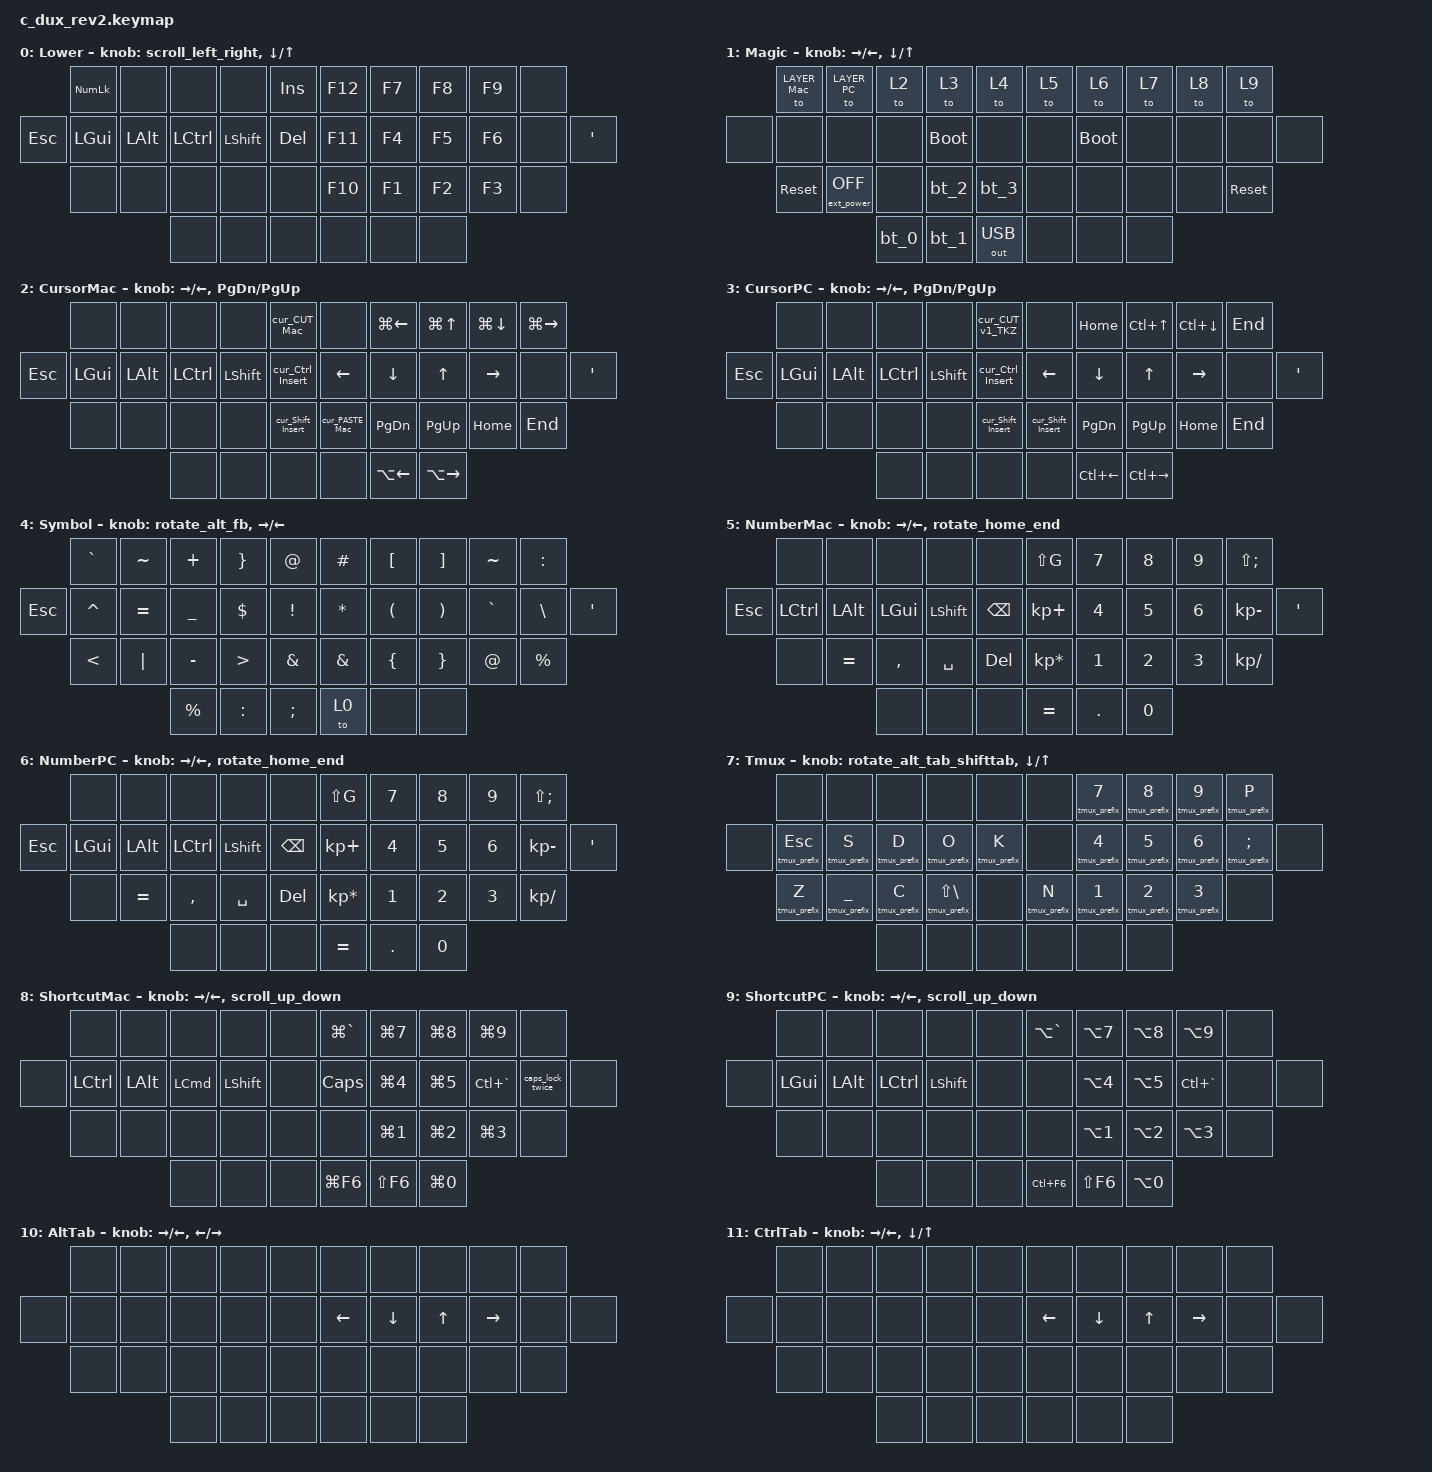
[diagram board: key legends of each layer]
/*
 * Keymap config for the c_dux keyboard. Referencing my Glove80 keymap.
 */

#define ZMK_POINTING_DEFAULT_SCRL_VAL 140

#include <behaviors.dtsi>
#include <dt-bindings/zmk/keys.h>
#include <dt-bindings/zmk/pointing.h>
#include <dt-bindings/zmk/ext_power.h>
/* For selecting output, e.g. BLE, USB */
#include <dt-bindings/zmk/bt.h>
#include <dt-bindings/zmk/outputs.h>

// #define DEFAULT_LAYER_PC
#if __has_include("default_layer.h")
#include "default_layer.h"
#endif

#ifdef DEFAULT_LAYER_PC
#define LAYER_PC 0
#define LAYER_Mac 1
#else
#define LAYER_Mac 0
#define LAYER_PC 1
#endif
#define LAYER_Lower 2
#define LAYER_Magic 3
#define LAYER_CursorMac 4
#define LAYER_CursorPC 5
#define LAYER_Symbol 6
#define LAYER_NumberMac 7
#define LAYER_NumberPC 8
#define LAYER_Tmux 9
#define LAYER_ShortcutMac 10
#define LAYER_ShortcutPC 11
#define LAYER_AltTab 12
#define LAYER_CtrlTab 13

/* To deal with the situation where there is no Lower layer, to keep &lower happy */
#ifndef LAYER_Lower
#define LAYER_Lower 0
#endif

/ {
    behaviors {
        // For the "layer" key, it'd nice to be able to use it as either a shift or a toggle.
        // Configure it as a tap dance, so the first tap (or hold) is a &mo and the second tap is a &to
        lower: lower {
            compatible = "zmk,behavior-tap-dance";
            #binding-cells = <0>;
            tapping-term-ms = <200>;
            bindings = <&mo LAYER_Lower>, <&to LAYER_Lower>;
        };

        magic: magic {
            compatible = "zmk,behavior-hold-tap";
            #binding-cells = <2>;
            flavor = "tap-preferred";
            tapping-term-ms = <200>;
            bindings = <&mo>, <&bt_select_0>;
        };

        scroll_left_right: behavior_sensor_rotate_mouse_wheel_left_right {
            compatible = "zmk,behavior-sensor-rotate";
            #sensor-binding-cells = <0>;
            tap-ms = <20>;
            bindings = <&msc SCRL_RIGHT>, <&msc SCRL_LEFT>;
        };

        scroll_up_down: behavior_sensor_rotate_mouse_wheel_up_down {
            compatible = "zmk,behavior-sensor-rotate";
            #sensor-binding-cells = <0>;
            tap-ms = <20>;
            bindings = <&msc SCRL_DOWN>, <&msc SCRL_UP>;
        };

        rotate_home_end: behavior_sensor_rotate_home_end {
            compatible = "zmk,behavior-sensor-rotate";
            #sensor-binding-cells = <0>;
            bindings = <&kp END>, <&kp HOME>;
        };

        rotate_alt_fb: behavior_sensor_rotate_alt_fb {
            compatible = "zmk,behavior-sensor-rotate";
            #sensor-binding-cells = <0>;
            bindings = <&kp LA(F)>, <&kp LA(B)>;
        };

        rotate_alt_tab_shifttab: behavior_sensor_rotate_tab_shifttab {
            compatible = "zmk,behavior-sensor-rotate";
            #sensor-binding-cells = <0>;
            bindings = <&kp LC(TAB)>, <&kp LS(LC(TAB))>;
        };
    };
};


/* Bluetooth releated. With BT_DISC_CMD support. */
/ {
    behaviors {
        bt_0: bt_0 {
            compatible = "zmk,behavior-tap-dance";
            #binding-cells = <0>;
            tapping-term-ms = <200>;
            bindings = <&bt_select_0>, <&bt BT_DISC 0>;
        };
        bt_1: bt_1 {
            compatible = "zmk,behavior-tap-dance";
            #binding-cells = <0>;
            tapping-term-ms = <200>;
            bindings = <&bt_select_1>, <&bt BT_DISC 1>;
        };
        bt_2: bt_2 {
            compatible = "zmk,behavior-tap-dance";
            #binding-cells = <0>;
            tapping-term-ms = <200>;
            bindings = <&bt_select_2>, <&bt BT_DISC 2>;
        };
        bt_3: bt_3 {
            compatible = "zmk,behavior-tap-dance";
            #binding-cells = <0>;
            tapping-term-ms = <200>;
            bindings = <&bt_select_3>, <&bt BT_DISC 3>;
        };
    };
    macros {
        bt_select_0: bt_select_0 {
            compatible = "zmk,behavior-macro";
            #binding-cells = <0>;
            bindings
                = <&out OUT_BLE>,
                  <&bt BT_SEL 0>;
        };
        bt_select_1: bt_select_1 {
            compatible = "zmk,behavior-macro";
            #binding-cells = <0>;
            bindings
                = <&out OUT_BLE>,
                  <&bt BT_SEL 1>;
        };
        bt_select_2: bt_select_2 {
            compatible = "zmk,behavior-macro";
            #binding-cells = <0>;
            bindings
                = <&out OUT_BLE>,
                  <&bt BT_SEL 2>;
        };
        bt_select_3: bt_select_3 {
            compatible = "zmk,behavior-macro";
            #binding-cells = <0>;
            bindings
                = <&out OUT_BLE>,
                  <&bt BT_SEL 3>;
        };
    };
};


/* #define for key positions */
#define POS_LH_C1R1 4 /* Left hand column 1 (far index finger) row 1. */
#define POS_LH_C2R1 3
#define POS_LH_C3R1 2
#define POS_LH_C4R1 1
#define POS_LH_C5R1 0

#define POS_LH_C1R2 15
#define POS_LH_C2R2 14
#define POS_LH_C3R2 13
#define POS_LH_C4R2 12
#define POS_LH_C5R2 11
#define POS_LH_C6R2 10

#define POS_LH_C1R3 26
#define POS_LH_C2R3 25
#define POS_LH_C3R3 24
#define POS_LH_C4R3 23
#define POS_LH_C5R3 22

#define POS_LH_T1 32 /* Left hand inner most thumb key. */
#define POS_LH_T2 33
#define POS_LH_T3 34

#define POS_RH_C1R1 5 /* Right hand column 1 ((far index finger) row 1. */
#define POS_RH_C2R1 6
#define POS_RH_C3R1 7
#define POS_RH_C4R1 8
#define POS_RH_C5R1 9

#define POS_RH_C1R2 16
#define POS_RH_C2R2 17
#define POS_RH_C3R2 18
#define POS_RH_C4R2 19
#define POS_RH_C5R2 20
#define POS_RH_C6R2 21

#define POS_RH_C1R3 27
#define POS_RH_C2R3 28
#define POS_RH_C3R3 29
#define POS_RH_C4R3 30
#define POS_RH_C5R3 31

#define POS_RH_T1 37 /* Right hand inner most thumb key. */
#define POS_RH_T2 36
#define POS_RH_T3 35


/ {
    macros {
        // AutoShift Helper- &AS main macro is chained to &AS_HT hold tap and &AS_Shifted macro - TailorKey
        AS_Shifted_v1_TKZ: AS_Shifted_v1_TKZ {
            compatible = "zmk,behavior-macro-one-param";
            #binding-cells = <1>;
            bindings = <&macro_press>
                , <&kp LSHFT>
                , <&macro_tap>
                , <&macro_param_1to1>
                , <&kp N1>
                , <&macro_release>
                , <&kp LSHFT>;
        };

        // AutoShift (Assign &AS to a Key) - &AS main macro is chained to &AS_HT hold tap and &AS_Shifted macro - TailorKey
        AS_v1_TKZ: AS_v1_TKZ {
            compatible = "zmk,behavior-macro-one-param";
            #binding-cells = <1>;
            tap-ms = <10>;
            wait-ms = <10>;
            bindings = <&macro_press>
                , <&macro_param_1to1>
                , <&macro_param_1to2>
                , <&AS_HT_v1_TKZ A A>
                , <&macro_pause_for_release>
                , <&macro_release>
                , <&macro_param_1to1>
                , <&macro_param_1to2>
                , <&AS_HT_v1_TKZ A A>;
        };

        // Cursor Layer - Copy (Ctrl C) - TailorKey
        cur_COPY_v1_TKZ: cur_COPY_v1_TKZ {
            compatible = "zmk,behavior-macro";
            #binding-cells = <0>;
            bindings = <&kp LC(C)>;
        };
        cur_COPY_Mac: cur_COPY_Mac {
            compatible = "zmk,behavior-macro";
            #binding-cells = <0>;
            bindings = <&kp LG(C)>;
        };

        // Cursor Layer - Cut (Ctrl X) - TailorKey
        cur_CUT_v1_TKZ: cur_CUT_v1_TKZ {
            compatible = "zmk,behavior-macro";
            #binding-cells = <0>;
            bindings = <&kp LC(X)>;
        };
        cur_CUT_Mac: cur_CUT_Mac {
            compatible = "zmk,behavior-macro";
            #binding-cells = <0>;
            bindings = <&kp LG(X)>;
        };

        // Cursor Layer - Extent Line (seq) - TailorKey
        cur_EXTEND_LINE_v1_TKZ: cur_EXTEND_LINE_v1_TKZ {
            compatible = "zmk,behavior-macro";
            #binding-cells = <0>;
            tap-ms = <1>;
            wait-ms = <1>;
            bindings = <&kp LS(END)>;
        };

        // Cursor Layer - Extend Word (seq) - TailorKey
        cur_EXTEND_WORD_v1_TKZ: cur_EXTEND_WORD_v1_TKZ {
            compatible = "zmk,behavior-macro";
            #binding-cells = <0>;
            tap-ms = <1>;
            wait-ms = <1>;
            bindings = <&kp LC(LS(RIGHT))>;
        };

        // Cursor Layer - Find Next (Ctrl G) - TailorKey
        cur_FNEXT_v1_TKZ: cur_FNEXT_v1_TKZ {
            compatible = "zmk,behavior-macro";
            #binding-cells = <0>;
            bindings = <&kp LC(G)>;
        };

        // Cursor Layer - Find Prev (Ctrl Shift G) - TailorKey
        cur_FPREV_v1_TKZ: cur_FPREV_v1_TKZ {
            compatible = "zmk,behavior-macro";
            #binding-cells = <0>;
            bindings = <&kp LS(LC(G))>;
        };

        // Cursor Layer - Paste (Ctrl V) - TailorKey
        cur_PASTE_v1_TKZ: cur_PASTE_v1_TKZ {
            compatible = "zmk,behavior-macro";
            #binding-cells = <0>;
            bindings = <&kp LC(V)>;
        };
        cur_PASTE_Mac: cur_PASTE_Mac {
            compatible = "zmk,behavior-macro";
            #binding-cells = <0>;
            bindings = <&kp LG(V)>;
        };

        // Cursor Layer - Redo (Ctrl Y) - TailorKey
        cur_REDO_v1_TKZ: cur_REDO_v1_TKZ {
            compatible = "zmk,behavior-macro";
            #binding-cells = <0>;
            bindings = <&kp LC(Y)>;
        };

        // Cursor Layer - Selest All (Ctrl A) - TailorKey
        cur_SELECT_ALL_v1_TKZ: cur_SELECT_ALL_v1_TKZ {
            compatible = "zmk,behavior-macro";
            #binding-cells = <0>;
            bindings = <&kp LC(A)>;
        };

        // Cursor Layer - Select Line (seq) - TailorKey
        cur_SELECT_LINE_v1_TKZ: cur_SELECT_LINE_v1_TKZ {
            compatible = "zmk,behavior-macro";
            #binding-cells = <0>;
            tap-ms = <1>;
            wait-ms = <1>;
            bindings = <&kp HOME>
                , <&kp LS(END)>;
        };

        // Cursor Layer - Select None (seq) - TailorKey
        cur_SELECT_NONE_v1_TKZ: cur_SELECT_NONE_v1_TKZ {
            compatible = "zmk,behavior-macro";
            #binding-cells = <0>;
            tap-ms = <1>;
            wait-ms = <1>;
            bindings = <&kp DOWN>
                , <&kp UP>
                , <&kp RIGHT>
                , <&kp LEFT>;
        };

        // Cursor Layer - Select Word (seq) - TailorKey
        cur_SELECT_WORD_v1_TKZ: cur_SELECT_WORD_v1_TKZ {
            compatible = "zmk,behavior-macro";
            #binding-cells = <0>;
            tap-ms = <1>;
            wait-ms = <1>;
            bindings = <&kp LC(LEFT)>
                , <&kp LC(LS(RIGHT))>;
        };

        cur_Ctrl_Insert: cur_Ctrl_Insert {
            compatible = "zmk,behavior-macro";
            #binding-cells = <0>;
            bindings = <&kp LC(INS)>;
        };

        cur_Shift_Insert: cur_Shift_Insert {
            compatible = "zmk,behavior-macro";
            #binding-cells = <0>;
            bindings = <&kp LS(INS)>;
        };

        // Cursor Layer - Undo (Ctrl Z) - TailorKey
        cur_UNDO_v1_TKZ: cur_UNDO_v1_TKZ {
            compatible = "zmk,behavior-macro";
            #binding-cells = <0>;
            bindings = <&kp LC(Z)>;
        };

        // mod_tab_switcher_chord -  TailorKey
        mod_tab_chord_v1_TKZ: mod_tab_chord_v1_TKZ {
            compatible = "zmk,behavior-macro-two-param";
            #binding-cells = <2>;
            tap-ms = <15>;
            wait-ms = <30>;
            bindings = <&macro_press>
                , <&macro_param_2to1>
                , <&mo 0>
                , <&macro_press>
                , <&macro_param_1to1>
                , <&mod_tab_v1_TKZ N0>
                , <&macro_pause_for_release>
                , <&macro_release>
                , <&macro_param_1to1>
                , <&mod_tab_v1_TKZ N0>
                , <&macro_release>
                , <&macro_param_2to1>
                , <&mo 0>;
        };

        // mod_tab_switcher - TailorKey
        mod_tab_v1_TKZ: mod_tab_v1_TKZ {
            compatible = "zmk,behavior-macro-one-param";
            #binding-cells = <1>;
            tap-ms = <15>;
            wait-ms = <30>;
            bindings = <&macro_press>
                , <&macro_param_1to1>
                , <&kp N0>
                , <&macro_tap>
                , <&kp TAB>
                , <&macro_pause_for_release>
                , <&macro_release>
                , <&macro_param_1to1>
                , <&kp N0>;
        };

        tmux_prefix: tmux_prefix {
            compatible = "zmk,behavior-macro-one-param";
            #binding-cells = <1>;
            wait-ms = <30>;
            bindings = <&kp GRAVE>
                , <&macro_param_1to1>
                , <&kp A>;
        };

        // Go to top
        cur_ctrl_home: cur_ctrl_home {
            compatible = "zmk,behavior-macro";
            #binding-cells = <0>;
            bindings = <&kp LC(HOME)>;
        };

        // Go to bottom
        cur_ctrl_end: cur_ctrl_end {
            compatible = "zmk,behavior-macro";
            #binding-cells = <0>;
            bindings = <&kp LC(END)>;
        };

        lctrl_space: lctrl_space {
            compatible = "zmk,behavior-macro";
            #binding-cells = <0>;
            bindings = <&macro_press &kp LCTRL>
                , <&macro_tap &kp SPACE>
                , <&macro_release &kp LCTRL>;
        };

        lgui_space: lgui_space {
            compatible = "zmk,behavior-macro";
            #binding-cells = <0>;
            bindings = <&macro_press &kp LGUI>
                , <&macro_tap &kp SPACE>
                , <&macro_release &kp LGUI>;
        };

        caps_lock_twice: caps_lock_twice {
            compatible = "zmk,behavior-macro";
            #binding-cells = <0>;
            bindings = <&macro_tap &kp CAPSLOCK>
                , <&macro_tap &kp CAPSLOCK>;
        };
    };
};

/ {
    behaviors {
        shiftdance: shiftdance {
            compatible = "zmk,behavior-tap-dance";
            #binding-cells = <0>;
            tapping-term-ms = <200>;
            // for normal shift, use the following:
            // bindings = <&kp RSHIFT>, <&caps_word>, <&kp CAPSLOCK>;
            bindings = <&sk LSHIFT>, <&caps_word>, <&kp CAPSLOCK>;
        };

        // AutoShift Helper - &AS main macro is chained to &AS_HT hold tap and &AS_Shifted macro - TailorKey
        AS_HT_v1_TKZ: AS_HT_v1_TKZ {
            compatible = "zmk,behavior-hold-tap";
            #binding-cells = <2>;
            tapping-term-ms = <190>;
            bindings = <&AS_Shifted_v1_TKZ>, <&kp>;
        };

        // Homerow Mod for the left index finger - TailorKey
        HRM_left_index_v1_TKZ: HRM_left_index_v1_TKZ {
            compatible = "zmk,behavior-hold-tap";
            #binding-cells = <2>;
            tapping-term-ms = <170>;
            bindings = <&kp>, <&kp>;
            flavor = "tap-preferred";
            quick-tap-ms = <300>;
            require-prior-idle-ms = <100>;
            hold-trigger-key-positions = <5 6 7 8 9 16 17 18 19 20 21 27 28 29 30 31 35 36 37>;
            hold-trigger-on-release;
        };

        // Homerow Mod for the left middle finger - TailorKey
        HRM_left_middy_v1_TKZ: HRM_left_middy_v1_TKZ {
            compatible = "zmk,behavior-hold-tap";
            #binding-cells = <2>;
            tapping-term-ms = <210>;
            bindings = <&kp>, <&kp>;
            flavor = "tap-preferred";
            quick-tap-ms = <300>;
            require-prior-idle-ms = <150>;
            hold-trigger-key-positions = <5 6 7 8 9 16 17 18 19 20 21 27 28 29 30 31 35 36 37>;
            hold-trigger-on-release;
        };

        // Homerow Mod for the left pinky - TailorKey
        HRM_left_pinky_v1_TKZ: HRM_left_pinky_v1_TKZ {
            compatible = "zmk,behavior-hold-tap";
            #binding-cells = <2>;
            tapping-term-ms = <260>;
            bindings = <&kp>, <&kp>;
            flavor = "tap-preferred";
            quick-tap-ms = <300>;
            require-prior-idle-ms = <150>;
            hold-trigger-key-positions = <5 6 7 8 9 16 17 18 19 20 21 27 28 29 30 31 35 36 37>;
            hold-trigger-on-release;
        };

        // Homerow Mod for the left ring finger 1 - TailorKey
        HRM_left_ring1_v1_TKZ: HRM_left_ring1_v1_TKZ {
            compatible = "zmk,behavior-hold-tap";
            #binding-cells = <2>;
            tapping-term-ms = <240>;
            bindings = <&kp>, <&kp>;
            flavor = "tap-preferred";
            quick-tap-ms = <300>;
            require-prior-idle-ms = <150>;
            hold-trigger-key-positions = <5 6 7 8 9 16 17 18 19 20 21 27 28 29 30 31 35 36 37>;
            hold-trigger-on-release;
        };

        // Homerow Mod for the right index finger - TailorKey
        HRM_right_index_v1_TKZ: HRM_right_index_v1_TKZ {
            compatible = "zmk,behavior-hold-tap";
            #binding-cells = <2>;
            tapping-term-ms = <170>;
            bindings = <&kp>, <&kp>;
            flavor = "tap-preferred";
            quick-tap-ms = <300>;
            require-prior-idle-ms = <100>;
            hold-trigger-key-positions = <0 1 2 3 4 10 11 12 13 14 15 22 23 24 25 26 32 33 34>;
            hold-trigger-on-release;
        };

        // Homerow Mod for the right middle finger - TailorKey
        HRM_right_middy_v1_TKZ: HRM_right_middy_v1_TKZ {
            compatible = "zmk,behavior-hold-tap";
            #binding-cells = <2>;
            tapping-term-ms = <210>;
            bindings = <&kp>, <&kp>;
            flavor = "tap-preferred";
            quick-tap-ms = <300>;
            require-prior-idle-ms = <150>;
            hold-trigger-key-positions = <0 1 2 3 4 10 11 12 13 14 15 22 23 24 25 26 32 33 34>;
            hold-trigger-on-release;
        };

        // Homerow Mod for the right pinky - TailorKey
        HRM_right_pinky_v1_TKZ: HRM_right_pinky_v1_TKZ {
            compatible = "zmk,behavior-hold-tap";
            #binding-cells = <2>;
            tapping-term-ms = <260>;
            bindings = <&kp>, <&kp>;
            flavor = "tap-preferred";
            quick-tap-ms = <300>;
            require-prior-idle-ms = <150>;
            hold-trigger-key-positions = <0 1 2 3 4 10 11 12 13 14 15 22 23 24 25 26 32 33 34>;
            hold-trigger-on-release;
        };

        // Homerow Mod for the right ring 1 - TailorKey
        HRM_right_ring1_v1_TKZ: HRM_right_ring1_v1_TKZ {
            compatible = "zmk,behavior-hold-tap";
            #binding-cells = <2>;
            tapping-term-ms = <240>;
            bindings = <&kp>, <&kp>;
            flavor = "tap-preferred";
            quick-tap-ms = <300>;
            require-prior-idle-ms = <150>;
            hold-trigger-key-positions = <0 1 2 3 4 10 11 12 13 14 15 22 23 24 25 26 32 33 34>;
            hold-trigger-on-release;
        };

        // space_layer_access - TailorKey
        space_v2_TKZ: space_v2_TKZ {
            compatible = "zmk,behavior-hold-tap";
            #binding-cells = <2>;
            tapping-term-ms = <200>;
            bindings = <&mo>, <&kp>;
            flavor = "balanced";
            quick-tap-ms = <150>;
            retro-tap;
        };

        // thumb_layer_access - TailorKey
        thumb_v2_TKZ: thumb_v2_TKZ {
            compatible = "zmk,behavior-hold-tap";
            #binding-cells = <2>;
            tapping-term-ms = <200>;
            bindings = <&mo>, <&kp>;
            flavor = "balanced";
            quick-tap-ms = <300>;
        };
    };
};

/ {
    combos {
        compatible = "zmk,combos";

        combo_n1 {
            key-positions = <POS_LH_C5R1 POS_LH_C5R2>;
            bindings = <&kp N1>;
        };
        combo_n2 {
            key-positions = <POS_LH_C4R1 POS_LH_C4R2>;
            bindings = <&kp N2>;
        };
        combo_n3 {
            key-positions = <POS_LH_C3R1 POS_LH_C3R2>;
            bindings = <&kp N3>;
        };
        combo_n4 {
            key-positions = <POS_LH_C2R1 POS_LH_C2R2>;
            bindings = <&kp N4>;
        };
        combo_n5 {
            key-positions = <POS_LH_C1R1 POS_LH_C1R2>;
            bindings = <&kp N5>;
        };
        combo_n6 {
            key-positions = <POS_RH_C1R1 POS_RH_C1R2>;
            bindings = <&kp N6>;
        };
        combo_n7 {
            key-positions = <POS_RH_C2R1 POS_RH_C2R2>;
            bindings = <&kp N7>;
        };
        combo_n8 {
            key-positions = <POS_RH_C3R1 POS_RH_C3R2>;
            bindings = <&kp N8>;
        };
        combo_n9 {
            key-positions = <POS_RH_C4R1 POS_RH_C4R2>;
            bindings = <&kp N9>;
        };
        combo_n0 {
            key-positions = <POS_RH_C5R1 POS_RH_C5R2>;
            bindings = <&kp N0>;
        };

        // left index finger
        combo_underscore {
            key-positions = <POS_LH_C2R2 POS_LH_C2R3>;
            bindings = <&kp UNDER>;
        };
        // left midddle finger
        combo_dash {
            key-positions = <POS_LH_C3R2 POS_LH_C3R3>;
            bindings = <&kp MINUS>;
        };
        // left ring finger
        combo_pc_left_gui{
            key-positions = <POS_LH_C4R2 POS_LH_C4R3>;
            layers = <LAYER_PC>;
            bindings = <&kp LGUI>;
        };

        // right index finger
        combo_capsword_right {
            key-positions = <POS_RH_C2R2 POS_RH_C2R3>;
            bindings = <&caps_word>;
        };
        // right middle finger
        combo_switch_lang_pc {
            key-positions = <POS_RH_C3R2 POS_RH_C3R3>;
            layers = <LAYER_PC>;
            bindings = <&lgui_space>;
        };
        combo_switch_lang_mac {
            key-positions = <POS_RH_C3R2 POS_RH_C3R3>;
            layers = <LAYER_Mac>;
            bindings = <&lctrl_space>;
        };
        // right ring finger
        combo_pc_right_gui {
            key-positions = <POS_RH_C4R2 POS_RH_C4R3>;
            layers = <LAYER_PC>;
            bindings = <&kp RGUI>;
        };

        combo_alt_tab_switch_thumb {
            timeout-ms = <50>;
            key-positions = <POS_LH_T1 POS_LH_T2>;
            layers = <LAYER_PC>;
            bindings = <&mod_tab_chord_v1_TKZ LALT LAYER_AltTab>;
        };

        combo_cmd_tab_switch_thumb {
            timeout-ms = <50>;
            key-positions = <POS_LH_T1 POS_LH_T2>;
            layers = <LAYER_Mac>;
            bindings = <&mod_tab_chord_v1_TKZ LCMD LAYER_CtrlTab>;
        };

        combo_ctrl_tab_switch_thumb {
            timeout-ms = <50>;
            key-positions = <POS_LH_T2 POS_LH_T3>;
            layers = <LAYER_PC LAYER_Mac>;
            bindings = <&mod_tab_chord_v1_TKZ LCTRL LAYER_CtrlTab>;
        };

        combo_mac_spotlight {
            key-positions = <POS_RH_T1 POS_RH_T2>;
            layers = <LAYER_Mac>;
            bindings = <&lgui_space>;
        };
        combo_mac_dictation {
            key-positions = <POS_RH_T2 POS_RH_T3>;
            layers = <LAYER_Mac>;
            bindings = <&caps_lock_twice>;
        };

        // sticky "meh" modifiers (Alt + Ctrl + Shift) - TailorKey
        // combo_sticky_meh_rght_v1_TKZ {
        //     timeout-ms = <50>;
        //     key-positions = <73 74>;
        //     bindings = <&sk LA(LC(LSHFT))>;
        // };

        // sticky "hyper" modifiers (Win + Alt + Ctrl + Shift) - TailorKey
        // combo_sticky_hyp_rght_v1_TKZ {
        //     timeout-ms = <50>;
        //     key-positions = <74 57>;
        //     bindings = <&sk LG(LA(LC(LSHFT)))>;
        // };

        combo_magic_left {
            timeout-ms = <50>;
            key-positions = <POS_LH_T3 POS_LH_C1R1>;
            bindings = <&to LAYER_Magic>;
        };

        combo_magic_right {
            timeout-ms = <50>;
            key-positions = <POS_RH_T3 POS_RH_C1R1>;
            bindings = <&to LAYER_Magic>;
        };

        combo_unlock {
            timeout-ms = <50>;
            key-positions = <POS_LH_T1 POS_LH_T2 POS_LH_T3>;
            layers = <LAYER_PC LAYER_Mac>;
            bindings = <&studio_unlock>;
        };

        combo_bt_clr_lh {
            timeout-ms = <50>;
            key-positions = <POS_LH_T1 POS_LH_C6R2>;
            layers = <LAYER_Magic>;
            bindings = <&bt BT_CLR>;
        };

        combo_bt_clr_rh {
            timeout-ms = <50>;
            key-positions = <POS_RH_T1 POS_RH_C6R2>;
            layers = <LAYER_Magic>;
            bindings = <&bt BT_CLR>;
        };
    };
};

/ {
    keymap {
        compatible = "zmk,keymap";

#ifdef DEFAULT_LAYER_PC
#include "c_dux_rev2_layer_pc.dtsi"
#include "c_dux_rev2_layer_mac.dtsi"
#else
#include "c_dux_rev2_layer_mac.dtsi"
#include "c_dux_rev2_layer_pc.dtsi"
#endif

        layer_Lower {
            display-name = "Lower";
            bindings = <
                &kp KP_NUM &none     &none     &none     &kp INS     &kp F12   &kp F7    &kp F8    &kp F9  &none
        &kp ESC &kp LGUI   &kp LALT  &kp LCTRL &kp LSHFT &kp DEL     &kp F11   &kp F4    &kp F5    &kp F6  &none  &kp SQT
                &none      &none     &none     &none     &none       &kp F10   &kp F1    &kp F2    &kp F3  &none
                                     &none     &none     &none       &none     &none     &none
            >;

            sensor-bindings = <&scroll_left_right &inc_dec_kp DOWN UP>;
        };

        layer_Magic {
            display-name = "Magic";
            bindings = <
                &to LAYER_Mac &to LAYER_PC      &to 2     &to 3       &to 4            &to 5       &to 6        &to 7     &to 8     &to 9
          &none &none         &none             &none     &bootloader &none            &none       &bootloader  &none     &none     &none      &none
                &sys_reset    &ext_power EP_OFF &none     &bt_2       &bt_3            &none       &none        &none     &none     &sys_reset
                                              &bt_0     &bt_1       &out OUT_USB     &none       &none        &none
            >;

            sensor-bindings = <&inc_dec_kp RIGHT LEFT &inc_dec_kp DOWN UP>;
        };

        layer_CursorMac {
            display-name = "CursorMac";
            bindings = <
                &none     &none     &none     &none     &cur_CUT_Mac          &none             &kp LG(LEFT) &kp LG(UP) &kp LG(DOWN) &kp LG(RIGHT)
        &kp ESC &kp LGUI  &kp LALT  &kp LCTRL &kp LSHFT &cur_Ctrl_Insert      &kp LEFT          &kp DOWN     &kp UP     &kp RIGHT    &none   &kp SQT
                &none     &none     &none     &none     &cur_Shift_Insert     &cur_PASTE_Mac    &kp PG_DN    &kp PG_UP  &kp HOME     &kp END
                                    &none     &none     &none                 &none             &kp LA(LEFT) &kp LA(RIGHT)
            >;

            sensor-bindings = <&inc_dec_kp RIGHT LEFT &inc_dec_kp PG_DN PG_UP>;
        };

        layer_CursorPC {
            display-name = "CursorPC";
            bindings = <
                &none     &none     &none     &none     &cur_CUT_v1_TKZ       &none             &kp HOME     &kp LC(UP) &kp LC(DOWN) &kp END
        &kp ESC &kp LGUI  &kp LALT  &kp LCTRL &kp LSHFT &cur_Ctrl_Insert      &kp LEFT          &kp DOWN     &kp UP     &kp RIGHT    &none   &kp SQT
                &none     &none     &none     &none     &cur_Shift_Insert     &cur_Shift_Insert &kp PG_DN    &kp PG_UP  &kp HOME     &kp END
                                    &none     &none     &none                 &none             &kp LC(LEFT) &kp LC(RIGHT)
            >;

            sensor-bindings = <&inc_dec_kp RIGHT LEFT &inc_dec_kp PG_DN PG_UP>;
        };

        layer_Symbol {
            display-name = "Symbol";
            bindings = <
                &kp GRAVE &kp TILDE &kp PLUS   &kp RBRC &kp AT       &kp HASH &kp LBKT  &kp RBKT  &kp TILDE  &kp COLON
        &kp ESC &kp CARET &kp EQUAL &kp UNDER  &kp DLLR &kp EXCL     &kp STAR &kp LPAR  &kp RPAR  &kp GRAVE  &kp BSLH  &kp SQT
                &kp LT    &kp PIPE  &kp MINUS  &kp GT   &kp AMPS     &kp AMPS &kp LBRC  &kp RBRC  &kp AT     &kp PRCNT
                                    &kp PRCNT &kp COLON &kp SEMI     &to 0    &none     &none
            >;

            sensor-bindings = <&rotate_alt_fb &inc_dec_kp RIGHT LEFT>;
        };

        layer_NumberMac {
            display-name = "NumberMac";
            bindings = <
                &none     &none     &none     &none     &none      &kp LS(G)       &kp N7  &kp N8  &kp N9  &kp LS(SEMI)
        &kp ESC &kp LCTRL &kp LALT  &kp LGUI  &kp LSHFT &kp BSPC   &kp KP_PLUS     &kp N4  &kp N5  &kp N6  &kp KP_MINUS &kp SQT
                &none     &kp EQUAL &kp COMMA &kp SPACE &kp DEL    &kp KP_MULTIPLY &kp N1  &kp N2  &kp N3  &kp KP_SLASH
                                    &none     &none     &none      &kp EQUAL       &kp DOT &kp N0
            >;

            sensor-bindings = <&inc_dec_kp RIGHT LEFT &rotate_home_end>;
        };

        layer_NumberPC {
            display-name = "NumberPC";
            bindings = <
                &none    &none     &none     &none     &none      &kp LS(G)       &kp N7  &kp N8  &kp N9  &kp LS(SEMI)
        &kp ESC &kp LGUI &kp LALT  &kp LCTRL &kp LSHFT &kp BSPC   &kp KP_PLUS     &kp N4  &kp N5  &kp N6  &kp KP_MINUS &kp SQT
                &none    &kp EQUAL &kp COMMA &kp SPACE &kp DEL    &kp KP_MULTIPLY &kp N1  &kp N2  &kp N3  &kp KP_SLASH
                                   &none     &none     &none      &kp EQUAL       &kp DOT &kp N0
            >;

            sensor-bindings = <&inc_dec_kp RIGHT LEFT &rotate_home_end>;
        };

        layer_Tmux {
            display-name = "Tmux";
            bindings = <
                &none             &none               &none           &none                 &none              &none           &tmux_prefix N7  &tmux_prefix N8  &tmux_prefix N9  &tmux_prefix P
        &none   &tmux_prefix ESC  &tmux_prefix S      &tmux_prefix D  &tmux_prefix O        &tmux_prefix K     &none           &tmux_prefix N4  &tmux_prefix N5  &tmux_prefix N6  &tmux_prefix SEMI &none
                &tmux_prefix Z    &tmux_prefix UNDER  &tmux_prefix C  &tmux_prefix LS(BSLH) &none              &tmux_prefix N  &tmux_prefix N1  &tmux_prefix N2  &tmux_prefix N3  &none
                                                      &none               &none             &none              &none           &none            &none
            >;

            sensor-bindings = <&rotate_alt_tab_shifttab &inc_dec_kp DOWN UP>;
        };

        layer_ShortcutMAC {
            display-name = "ShortcutMac";
            bindings = <
                &none     &none     &none     &none     &none       &kp LG(GRAVE) &kp LG(N7)  &kp LG(N8) &kp LG(N9)    &none
        &none   &kp LCTRL &kp LALT  &kp LCMD  &kp LSHFT &none       &kp CAPSLOCK  &kp LG(N4)  &kp LG(N5) &kp LC(GRAVE) &caps_lock_twice &none
                &none     &none     &none     &none     &none       &none         &kp LG(N1)  &kp LG(N2) &kp LG(N3)    &none
                                    &none     &none     &none       &kp LG(F6)    &kp LS(F6)  &kp LG(N0)
            >;

            sensor-bindings = <&inc_dec_kp RIGHT LEFT &scroll_up_down>;
        };

        layer_ShortcutPC {
            display-name = "ShortcutPC";
            bindings = <
                &none     &none     &none     &none     &none       &kp LA(GRAVE) &kp LA(N7)  &kp LA(N8) &kp LA(N9)    &none
        &none   &kp LGUI  &kp LALT  &kp LCTRL &kp LSHFT &none       &none         &kp LA(N4)  &kp LA(N5) &kp LC(GRAVE) &none &none
                &none     &none     &none     &none     &none       &none         &kp LA(N1)  &kp LA(N2) &kp LA(N3)    &none
                                    &none     &none     &none       &kp LC(F6)    &kp LS(F6)  &kp LA(N0)
            >;

            sensor-bindings = <&inc_dec_kp RIGHT LEFT &scroll_up_down>;
        };

        layer_AltTab {
            display-name = "AltTab";
            bindings = <
                &none     &none     &none     &none     &none       &none     &none     &none     &none     &none
      &none     &none     &none     &none     &none     &none       &kp LEFT  &kp DOWN  &kp UP    &kp RIGHT &none     &none
                &none     &none     &none     &none     &none       &none     &none     &none     &none     &none
                                    &none     &none     &none       &none     &none     &none
            >;

            sensor-bindings = <&inc_dec_kp RIGHT LEFT &inc_dec_kp LEFT RIGHT>;
        };

        layer_CtrlTab {
            display-name = "CtrlTab";
            bindings = <
                &none     &none     &none     &none     &none       &none     &none     &none     &none     &none
      &none     &none     &none     &none     &none     &none       &kp LEFT  &kp DOWN  &kp UP    &kp RIGHT &none     &none
                &none     &none     &none     &none     &none       &none     &none     &none     &none     &none
                                    &none     &none     &none       &none     &none     &none
            >;

            sensor-bindings = <&inc_dec_kp RIGHT LEFT &inc_dec_kp DOWN UP>;
        };
    };
};
